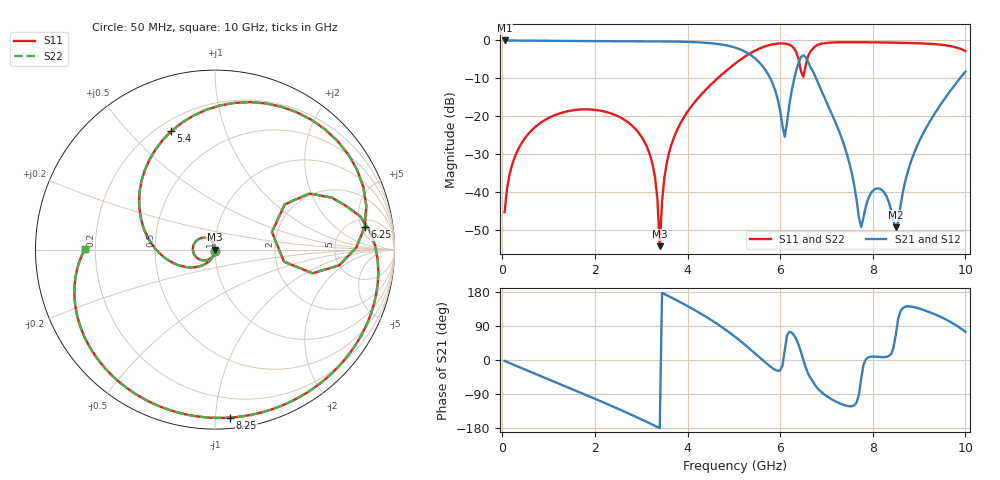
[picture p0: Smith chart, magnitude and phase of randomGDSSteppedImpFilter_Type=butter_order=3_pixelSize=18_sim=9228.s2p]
! freq	dB(S11)	phase(S11)	dB(S12)	phase(S12)
!  dB(S21)	phase(S21)	dB(S22)	phase(S22)
!S-par simulation data
#  GHz  S  DB  R 50
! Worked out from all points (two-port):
!   200 points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, 50 MHz to 10 GHz, reference 50 ohm
!   highest |S21| = -0.01 dB at 50 MHz (marker M1); lowest = -49.3 dB at 8.5 GHz (marker M2)
!   |S21| within 3 dB of the highest: start of sweep to 5.25 GHz
!   lowest |S11| = -54.3 dB at 3.4 GHz (marker M3), VSWR 1.00, Z = 49.8 - j0.0285 ohm
!   |S11| at or under -10 dB: start of sweep to 4.649 GHz
!   |S22| runs from -54.3 to -0.5 dB; largest |S21 - S12| = 0
!   S11 on the Smith chart (normalised r, x): 50 MHz: 1.00, -0.01; 5.4 GHz: 0.26, +0.67; 6.25 GHz: 6.59, +5.81; 8.25 GHz: 0.07, -1.09; 10 GHz: 0.16, +0.00
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0.05  -45.29 -89.8  -0.01 -2.6  -0.01 -2.6  -45.29 -89.8
0.5  -25.60 -115.9  -0.05 -25.5  -0.05 -25.5  -25.60 -115.8
1.75  -18.18 179.6  -0.17 -89.3  -0.17 -89.3  -18.18 179.6
3.05  -26.29 109.3  -0.21 -159.3  -0.21 -159.3  -26.30 109.4
3.3  -36.23 94.9  -0.23 -173.8  -0.23 -173.8  -36.25 94.8
3.4  -54.26 -171.5  -0.24 -179.8  -0.24 -179.8  -54.25 -170.4
3.5  -36.13 -97.6  -0.25 174.2  -0.25 174.2  -36.12 -97.2
3.75  -24.31 -113.1  -0.30 158.6  -0.30 158.6  -24.31 -112.9
4.5  -11.70 -165.7  -0.73 106.4  -0.73 106.4  -11.70 -165.5
5.05  -5.91 146.5  -1.98 59.0  -1.98 59.0  -5.91 146.7
5.4  -3.07 110.3  -4.16 23.5  -4.16 23.5  -3.07 110.5
6.1  -0.84 29.3  -25.39 26.3  -25.39 26.3  -0.84 29.4
6.25  -1.48 8.7  -13.20 72.4  -13.20 72.4  -1.48 8.8
6.5  -9.58 17.1  -3.90 0.6  -3.90 0.6  -9.60 17.2
6.7  -2.28 18.5  -7.99 -55.2  -7.99 -55.2  -2.28 18.6
7.4  -0.47 -39.9  -28.35 -119.6  -28.35 -119.6  -0.47 -39.9
7.75  -0.47 -59.8  -49.21 -48.6  -49.21 -48.6  -0.47 -59.8
8.25  -0.54 -84.9  -40.15 7.6  -40.15 7.6  -0.54 -84.9
8.35  -0.56 -89.6  -42.74 11.2  -42.74 11.2  -0.56 -89.7
8.5  -0.59 -96.7  -49.26 68.4  -49.26 68.4  -0.59 -96.7
8.95  -0.73 -117.8  -28.04 137.7  -28.04 137.7  -0.73 -117.9
10  -2.79 179.7  -8.22 74.5  -8.22 74.5  -2.79 179.7
